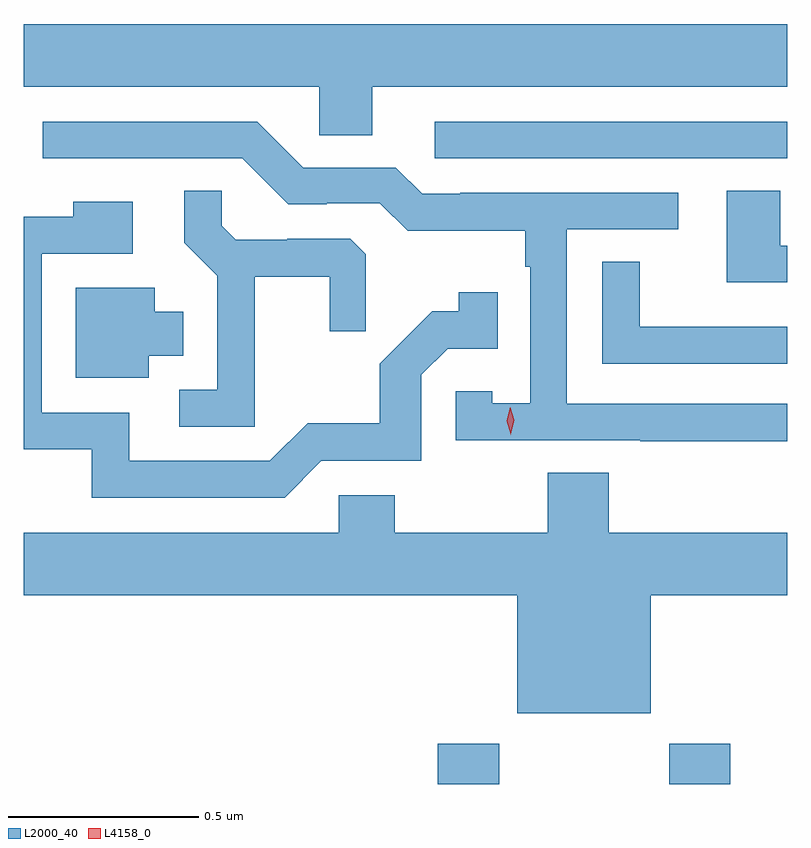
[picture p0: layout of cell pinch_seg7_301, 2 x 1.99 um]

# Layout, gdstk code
import gdstk
lib = gdstk.Library(unit=1e-6, precision=1e-09)
def R(c, l, rs):  # rectangles x0, y0, x1, y1
    for r in rs: c.add(gdstk.rectangle(r[:2], r[2:], *l))
def P(c, l, *ps):  # polygons
    for p in ps: c.add(gdstk.Polygon(p, *l))
L2000_40 = (2000, 40)
L4158_0 = (4158, 0)

pinch_seg7_301 = lib.new_cell('pinch_seg7_301')
R(pinch_seg7_301, L2000_40, [(570.749,1072.05,570.909,1072.156), (571.354,1072.05,571.514,1072.156), (570.741,1073.688,571.664,1073.784)])
P(pinch_seg7_301, L2000_40, [(570.577,1073.876),(571.664,1073.876),(571.664,1074.04),(569.664,1074.04),(569.664,1073.876),(570.438,1073.876),(570.438,1073.749),(570.577,1073.749)],
  [(571.664,1073.046),(571.086,1073.046),(571.086,1073.502),(571.378,1073.502),(571.378,1073.598),(570.808,1073.598),(570.808,1073.595),(570.708,1073.595),(570.639,1073.664),(570.396,1073.664),(570.276,1073.784),(569.714,1073.784),(569.714,1073.688),(570.237,1073.688),(570.357,1073.568),(570.458,1073.568),(570.458,1073.571),(570.597,1073.571),(570.67,1073.498),(570.978,1073.498),(570.978,1073.405),(570.99,1073.405),(570.99,1073.047),(570.891,1073.047),(570.891,1073.079),(570.795,1073.079),(570.795,1072.95),(571.279,1072.95),(571.279,1072.948),(571.664,1072.948)],
  [(571.664,1073.46),(571.645,1073.46),(571.645,1073.603),(571.505,1073.603),(571.505,1073.364),(571.664,1073.364)],
  [(570.269,1073.378),(570.466,1073.378),(570.466,1073.235),(570.56,1073.235),(570.56,1073.437),(570.519,1073.478),(570.354,1073.478),(570.354,1073.475),(570.22,1073.475),(570.183,1073.512),(570.183,1073.603),(570.085,1073.603),(570.085,1073.467),(570.171,1073.381),(570.171,1073.082),(570.072,1073.082),(570.072,1072.986),(570.269,1072.986)],
  [(570.444,1072.896),(570.705,1072.896),(570.705,1073.121),(570.774,1073.19),(570.905,1073.19),(570.905,1073.338),(570.804,1073.338),(570.804,1073.288),(570.734,1073.288),(570.597,1073.15),(570.597,1072.995),(570.408,1072.995),(570.309,1072.896),(569.941,1072.896),(569.941,1073.022),(569.712,1073.022),(569.712,1073.439),(569.95,1073.439),(569.95,1073.575),(569.794,1073.575),(569.794,1073.535),(569.664,1073.535),(569.664,1072.926),(569.843,1072.926),(569.843,1072.8),(570.348,1072.8)],
  [(571.664,1073.247),(571.278,1073.247),(571.278,1073.417),(571.179,1073.417),(571.179,1073.151),(571.664,1073.151)],
  [(569.992,1073.171),(570.082,1073.171),(570.082,1073.287),(570.007,1073.287),(570.007,1073.35),(569.801,1073.35),(569.801,1073.114),(569.992,1073.114)],
  [(571.306,1072.544),(571.664,1072.544),(571.664,1072.708),(571.196,1072.708),(571.196,1072.865),(571.036,1072.865),(571.036,1072.708),(570.636,1072.708),(570.636,1072.806),(570.489,1072.806),(570.489,1072.708),(569.664,1072.708),(569.664,1072.544),(570.956,1072.544),(570.956,1072.235),(571.306,1072.235)])
P(pinch_seg7_301, L4158_0, [(570.94,1072.965),(570.939,1072.966),(570.929,1073.001),(570.938,1073.037),(570.938,1073.037),(570.938,1073.037),(570.949,1073.002),(570.94,1072.966)])

lib.write_gds('pinch_seg7_301.gds')
